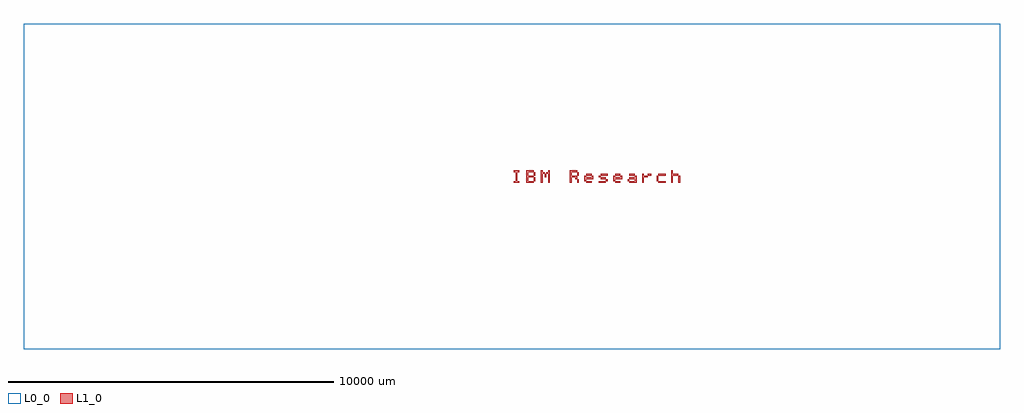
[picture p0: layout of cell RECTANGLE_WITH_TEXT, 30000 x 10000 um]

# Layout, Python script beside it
import gdspy

# Create a GDSII library
library = gdspy.GdsLibrary()

# Create a new cell in the library
cell = library.new_cell('RECTANGLE_WITH_TEXT')

# Create a rectangle of 30 mm x 10 mm on layer 0
rectangle = gdspy.Rectangle((0, 0), (30000, 10000), layer=0)
cell.add(rectangle)

# Create text "IBM Research" at the center of the rectangle
text = gdspy.Text('IBM Research', 500, (15000, 5000), horizontal=True, layer=1)
cell.add(text)

# Write the cell to a GDSII file
library.write_gds('rectangle_with_text.gds')

# Optionally, visualize using gdspy's internal viewer (if you are running in an environment that supports it)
